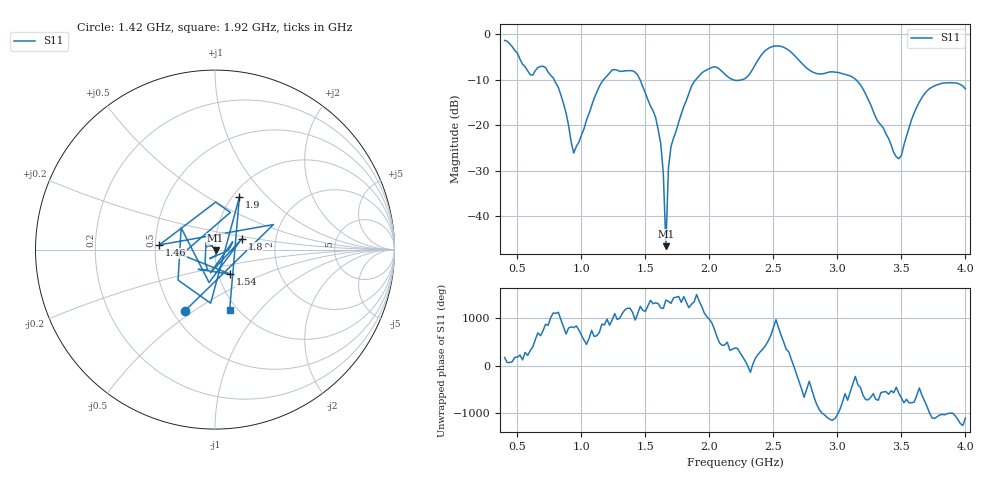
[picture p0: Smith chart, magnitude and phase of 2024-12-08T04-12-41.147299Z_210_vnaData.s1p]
!Created with skrf (http://scikit-rf.org).
# Hz S RI R 50.0
!freq ReS11 ImS11
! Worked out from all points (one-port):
!   181 points, 400 MHz to 4 GHz, reference 50 ohm
!   lowest |S11| = -46.5 dB at 1.66 GHz (marker M1), VSWR 1.01, Z = 50.3 - j0.368 ohm
!   |S11| at or under -10 dB: 786.7 MHz to 1.174 GHz (387.3 MHz wide, 39.5 % of centre); 1.457 GHz to 1.894 GHz (436.7 MHz wide, 26.1 % of centre); 3.144 GHz to end of sweep (the widest 3 of 4)
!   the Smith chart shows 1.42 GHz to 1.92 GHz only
!   S11 on the Smith chart (normalised r, x): 1.42 GHz: 0.58, -0.46; 1.46 GHz: 0.53, +0.03; 1.54 GHz: 1.14, -0.32; 1.8 GHz: 1.34, +0.16; 1.9 GHz: 1.08, +0.70; 1.92 GHz: 0.92, -0.71
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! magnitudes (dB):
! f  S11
! 400 MHz  -1.4
! 600 MHz  -8.9
! 720 MHz  -7.4
! 860 MHz  -15.2
! 940 MHz  -26.1
! 1.14 GHz  -11.5
! 1.3 GHz  -8.2
! 1.42 GHz  -8.4
! 1.46 GHz  -10.1
! 1.54 GHz  -15.8
! 1.62 GHz  -24.1
! 1.64 GHz  -30.6
! 1.66 GHz  -46.5
! 1.68 GHz  -29.4
! 1.76 GHz  -19.4
! 1.8 GHz  -15.9
! 1.9 GHz  -9.8
! 1.92 GHz  -9.2
! 2.04 GHz  -7.2
! 2.2 GHz  -10.2
! 2.48 GHz  -2.9
! 2.66 GHz  -4.6
! 2.82 GHz  -8.5
! 3.1 GHz  -9.2
! 3.46 GHz  -27.0
! 3.56 GHz  -20.6
! 3.72 GHz  -12.0
! 4 GHz  -12.0
